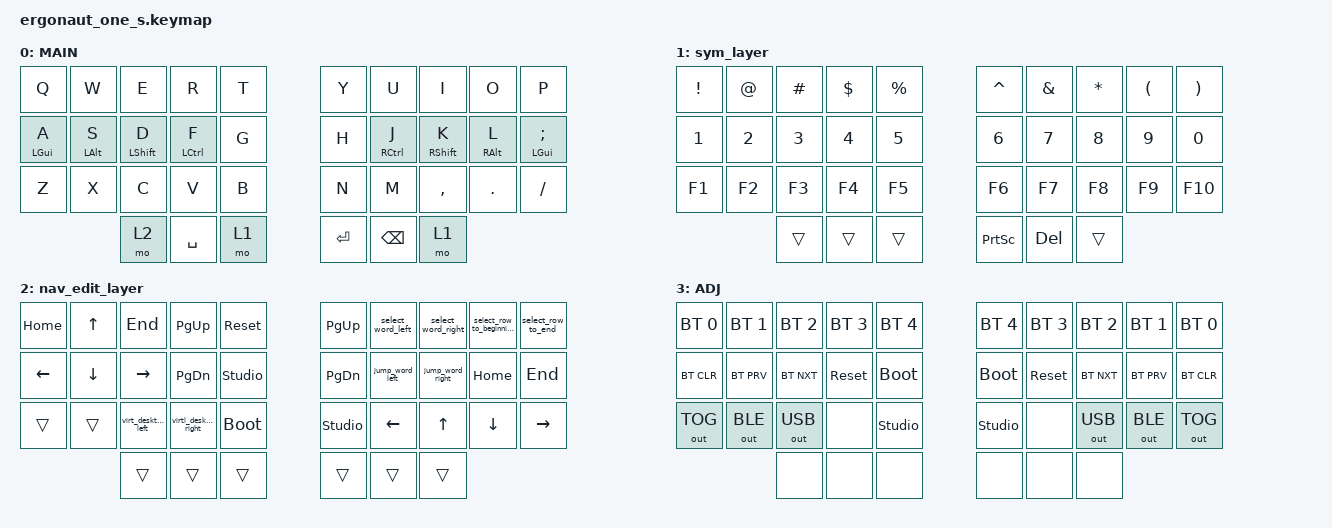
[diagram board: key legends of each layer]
#include <behaviors.dtsi>
#include <dt-bindings/zmk/bt.h>
#include <dt-bindings/zmk/keys.h>
#include <dt-bindings/zmk/outputs.h>

#define BASE 0
#define NAV 1
#define MOUSE 2
#define MEDIA 3
#define NUM 4
#define SYM 5
#define FUN 6
#define ADJ 7

/ {
    behaviors {
        hm: homerow_mods {
            compatible = "zmk,behavior-hold-tap";
            label = "HOMEROW_MODS";
            #binding-cells = <2>;
            tapping-term-ms = <220>;
            quick_tap_ms = <0>;
            flavor = "balanced";
            bindings = <&kp>, <&kp>;
        };
    };

    combos {
        compatible = "zmk,combos";

        equal_sign {
            bindings = <&kp EQUAL>;
            key-positions = <8 7>;
            layers = <1>;
        };

        minus_sign {
            bindings = <&kp MINUS>;
            key-positions = <6 7>;
            layers = <1>;
        };

        left_bracket {
            bindings = <&kp LEFT_BRACKET>;
            key-positions = <3 2>;
            layers = <0>;
        };

        right_bracket {
            bindings = <&kp RIGHT_BRACKET>;
            key-positions = <6 7>;
            layers = <0>;
        };

        forward_slash {
            bindings = <&kp BACKSLASH>;
            key-positions = <8 7>;
            layers = <0>;
        };

        single_quote {
            bindings = <&kp SINGLE_QUOTE>;
            key-positions = <18 17>;
            layers = <0>;
        };

        escape {
            bindings = <&kp ESCAPE>;
            key-positions = <3 13>;
            layers = <0>;
        };

        tab {
            bindings = <&kp TAB>;
            key-positions = <13 23>;
            layers = <0>;
        };

        tilde {
            bindings = <&kp GRAVE>;
            key-positions = <3 13>;
            layers = <1>;
        };

        F11_key {
            bindings = <&kp F11>;
            key-positions = <27 28>;
            layers = <1>;
        };

        F12_key {
            bindings = <&kp F12>;
            key-positions = <28 29>;
            layers = <1>;
        };

        adj_layer_l {
            bindings = <&mo 3>;
            key-positions = <0 1>;
        };

        adj_layer_r {
            bindings = <&mo 3>;
            key-positions = <9 8>;
        };
    };

    macros {
        virt_desktop_left: virt_desktop_left {
            compatible = "zmk,behavior-macro";
            #binding-cells = <0>;
            bindings = <&kp LC(LG(LEFT))>;
            label = "VIRT_DESKTOP_LEFT";
        };

        virtl_desktop_right: virtl_desktop_right {
            compatible = "zmk,behavior-macro";
            #binding-cells = <0>;
            bindings = <&kp LC(LG(RIGHT))>;
            label = "VIRTL_DESKTOP_RIGHT";
        };

        select_word_left: select_word_left {
            compatible = "zmk,behavior-macro";
            #binding-cells = <0>;
            bindings = <&kp LC(LS(LEFT))>;
            label = "SELECT_WORD_LEFT";
        };

        select_word_right: select_word_right {
            compatible = "zmk,behavior-macro";
            #binding-cells = <0>;
            bindings = <&kp LC(LS(RIGHT))>;
            label = "SELECT_WORD_RIGHT";
        };

        select_row_to_beginning: select_row_to_beginning {
            compatible = "zmk,behavior-macro";
            #binding-cells = <0>;
            bindings = <&kp LS(HOME)>;
            label = "SELECT_ROW_TO_BEGINNING";
        };

        select_row_to_end: select_row_to_end {
            compatible = "zmk,behavior-macro";
            #binding-cells = <0>;
            bindings = <&kp LS(END)>;
            label = "SELECT_ROW_TO_END";
        };

        jump_word_left: jump_word_left {
            compatible = "zmk,behavior-macro";
            #binding-cells = <0>;
            bindings = <&kp LC(LEFT)>;
            label = "JUMP_WORD_LEFT";
        };

        jump_word_right: jump_word_right {
            compatible = "zmk,behavior-macro";
            #binding-cells = <0>;
            bindings = <&kp LC(RIGHT)>;
            label = "JUMP_WORD_RIGHT";
        };
    };

    keymap {
        compatible = "zmk,keymap";

        default_layer {
            display-name = "MAIN";
            bindings = <
&kp Q       &kp W       &kp E             &kp R        &kp T      &kp Y  &kp U        &kp I              &kp O            &kp P
&hm LGUI A  &hm LALT S  &hm LEFT_SHIFT D  &hm LCTRL F  &kp G      &kp H  &hm RCTRL J  &hm RIGHT_SHIFT K  &hm RIGHT_ALT L  &hm LGUI SEMI
&kp Z       &kp X       &kp C             &kp V        &kp B      &kp N  &kp M        &kp COMMA          &kp DOT          &kp FSLH
                                          &mo 2        &kp SPACE  &mo 1  &kp ENTER    &kp BACKSPACE      &mo 1
            >;
        };

        sym_layer {
            bindings = <
&kp EXCLAMATION  &kp AT_SIGN   &kp HASH      &kp DOLLAR    &kp PERCENT   &kp CARET     &kp AMPERSAND    &kp ASTERISK  &kp LEFT_PARENTHESIS  &kp RIGHT_PARENTHESIS
&kp NUMBER_1     &kp NUMBER_2  &kp NUMBER_3  &kp NUMBER_4  &kp NUMBER_5  &kp NUMBER_6  &kp N7           &kp NUMBER_8  &kp NUMBER_9          &kp NUMBER_0
&kp F1           &kp F2        &kp F3        &kp F4        &kp F5        &kp F6        &kp F7           &kp F8        &kp F9                &kp F10
                                             &trans        &trans        &trans        &kp PRINTSCREEN  &kp DELETE    &trans
            >;
        };

        nav_edit_layer {
            bindings = <
&kp HOME        &kp UP_ARROW    &kp END             &kp PAGE_UP           &sys_reset      &kp PAGE_UP     &select_word_left  &select_word_right  &select_row_to_beginning  &select_row_to_end
&kp LEFT_ARROW  &kp DOWN_ARROW  &kp RIGHT_ARROW     &kp PAGE_DOWN         &studio_unlock  &kp PAGE_DOWN   &jump_word_left    &jump_word_right    &kp HOME                  &kp END
&trans          &trans          &virt_desktop_left  &virtl_desktop_right  &bootloader     &studio_unlock  &kp LEFT           &kp UP_ARROW        &kp DOWN                  &kp RIGHT
                                                    &trans                &trans          &trans          &trans             &trans              &trans
            >;
        };

        adj_layer {
            display-name = "ADJ";
            bindings = <
&bt BT_SEL 0  &bt BT_SEL 1  &bt BT_SEL 2  &bt BT_SEL 3  &bt BT_SEL 4    &bt BT_SEL 4    &bt BT_SEL 3  &bt BT_SEL 2  &bt BT_SEL 1  &bt BT_SEL 0
&bt BT_CLR    &bt BT_PRV    &bt BT_NXT    &sys_reset    &bootloader     &bootloader     &sys_reset    &bt BT_NXT    &bt BT_PRV    &bt BT_CLR
&out OUT_TOG  &out OUT_BLE  &out OUT_USB  &none         &studio_unlock  &studio_unlock  &none         &out OUT_USB  &out OUT_BLE  &out OUT_TOG
                                          &none         &none           &none           &none         &none         &none
            >;
        };
    };
};
